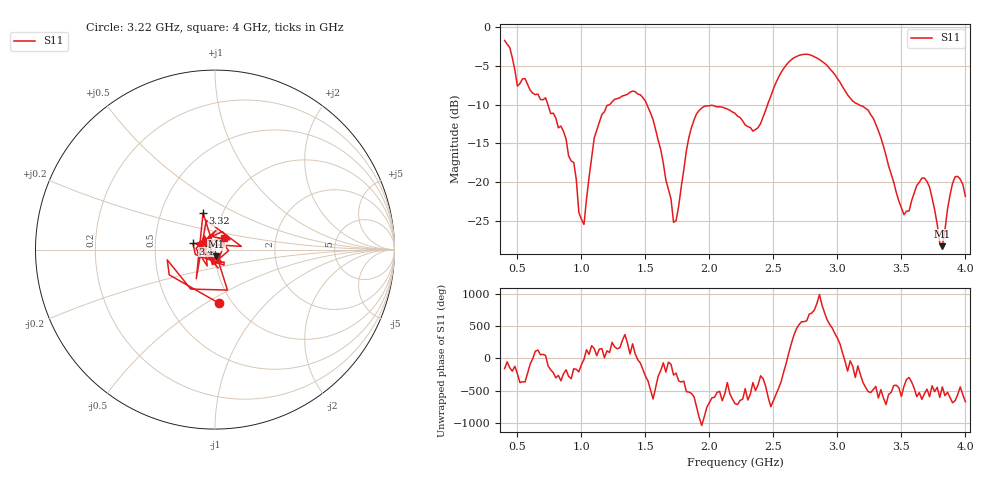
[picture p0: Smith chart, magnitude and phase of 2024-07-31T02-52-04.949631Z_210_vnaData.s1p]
!Created with skrf (http://scikit-rf.org).
# Hz S RI R 50.0
!freq ReS11 ImS11
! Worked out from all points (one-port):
!   181 points, 400 MHz to 4 GHz, reference 50 ohm
!   lowest |S11| = -28.3 dB at 3.82 GHz (marker M1), VSWR 1.08, Z = 50.5 - j3.85 ohm
!   |S11| at or under -10 dB: 738.1 MHz to 1.222 GHz (483.4 MHz wide, 49.3 % of centre); 1.511 GHz to 2.455 GHz (943.6 MHz wide, 47.6 % of centre); 3.166 GHz to end of sweep
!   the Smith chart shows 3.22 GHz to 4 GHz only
!   S11 on the Smith chart (normalised r, x): 3.22 GHz: 0.87, -0.57; 3.32 GHz: 0.81, +0.35; 3.4 GHz: 0.78, +0.05; 4 GHz: 1.10, +0.14
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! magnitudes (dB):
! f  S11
! 400 MHz  -1.7
! 500 MHz  -7.6
! 720 MHz  -9.1
! 860 MHz  -13.5
! 940 MHz  -17.5
! 980 MHz  -23.9
! 1.02 GHz  -25.5
! 1.1 GHz  -14.3
! 1.3 GHz  -9.1
! 1.5 GHz  -9.6
! 1.62 GHz  -15.8
! 1.72 GHz  -25.2
! 1.76 GHz  -23.1
! 1.84 GHz  -14.2
! 1.9 GHz  -11.2
! 2.2 GHz  -11.1
! 2.38 GHz  -13.0
! 2.66 GHz  -4.0
! 2.86 GHz  -4.2
! 3.1 GHz  -9.2
! 3.22 GHz  -10.5
! 3.32 GHz  -13.4
! 3.4 GHz  -17.9
! 3.56 GHz  -23.7
! 3.68 GHz  -19.5
! 3.82 GHz  -28.3
! 3.92 GHz  -19.3
! 4 GHz  -21.8
